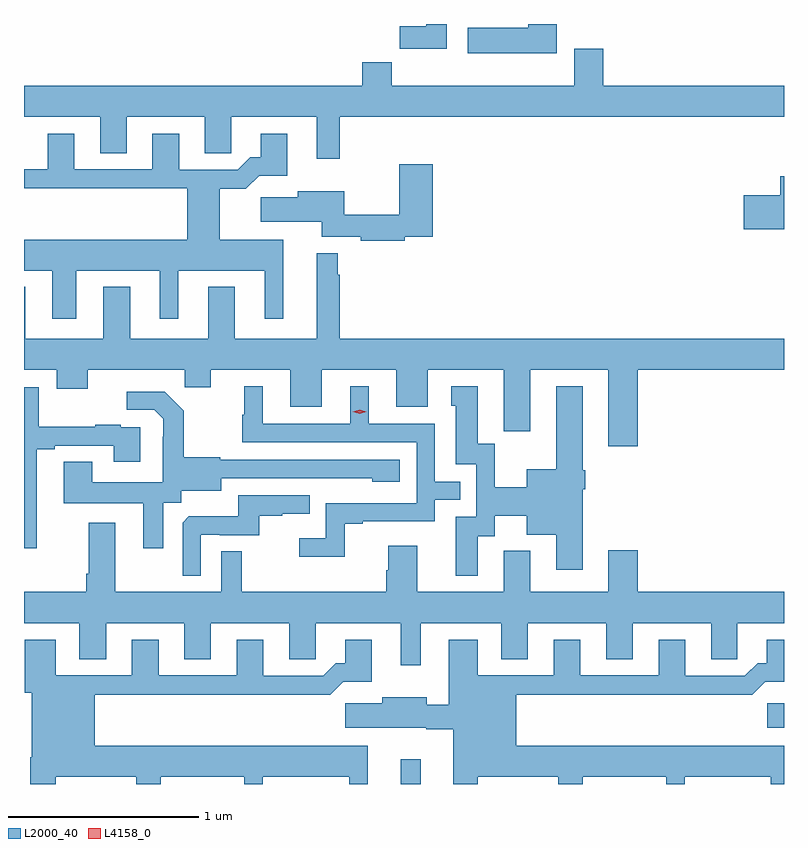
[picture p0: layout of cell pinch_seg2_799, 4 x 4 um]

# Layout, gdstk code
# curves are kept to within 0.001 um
import gdstk
lib = gdstk.Library(unit=1e-6, precision=1e-09)
def R(c, l, rs):  # rectangles x0, y0, x1, y1
    for r in rs: c.add(gdstk.rectangle(r[:2], r[2:], *l))
def P(c, l, *ps):  # polygons
    for p in ps: c.add(gdstk.Polygon(p, *l))
L2000_40 = (2000, 40)
L4158_0 = (4158, 0)

pinch_seg2_799 = lib.new_cell('pinch_seg2_799')
R(pinch_seg2_799, L2000_40, [(677.723,613.489,677.827,613.618), (679.65,613.784,679.739,613.913)])
P(pinch_seg2_799, L2000_40, [(678.544,617.489),(678.392,617.489),(678.392,617.47),(678.075,617.47),(678.075,617.336),(678.544,617.336)],
  [(677.965,617.489),(677.855,617.489),(677.855,617.476),(677.716,617.476),(677.716,617.358),(677.965,617.358)],
  [(677.401,617),(679.739,617),(679.739,617.164),(678.788,617.164),(678.788,617.359),(678.635,617.359),(678.635,617.164),(677.675,617.164),(677.675,617.288),(677.519,617.288),(677.519,617.164),(675.739,617.164),(675.739,617),(676.139,617),(676.139,616.81),(676.279,616.81),(676.279,617),(676.691,617),(676.691,616.81),(676.83,616.81),(676.83,617),(677.279,617),(677.279,616.779),(677.401,616.779)],
  [(676.015,616.19),(676.454,616.19),(676.454,615.939),(676.552,615.939),(676.552,616.19),(677.006,616.19),(677.006,615.939),(677.104,615.939),(677.104,616.354),(676.768,616.354),(676.768,616.622),(676.907,616.622),(676.976,616.691),(677.125,616.691),(677.125,616.912),(676.985,616.912),(676.985,616.789),(676.93,616.789),(676.863,616.722),(676.555,616.722),(676.555,616.912),(676.415,616.912),(676.415,616.725),(676.003,616.725),(676.003,616.912),(675.863,616.912),(675.863,616.725),(675.739,616.725),(675.739,616.624),(676.598,616.624),(676.598,616.354),(675.739,616.354),(675.739,616.19),(675.887,616.19),(675.887,615.939),(676.015,615.939)],
  [(677.744,616.368),(677.891,616.368),(677.891,616.75),(677.713,616.75),(677.713,616.484),(677.424,616.484),(677.424,616.609),(677.18,616.609),(677.18,616.577),(676.986,616.577),(676.986,616.448),(677.306,616.448),(677.306,616.368),(677.512,616.368),(677.512,616.348),(677.744,616.348)],
  [(679.739,616.687),(679.718,616.687),(679.718,616.587),(679.527,616.587),(679.527,616.409),(679.739,616.409)],
  [(678.968,615.668),(679.739,615.668),(679.739,615.832),(677.401,615.832),(677.401,616.169),(677.39,616.169),(677.39,616.282),(677.279,616.282),(677.279,615.832),(676.849,615.832),(676.849,616.105),(676.709,616.105),(676.709,615.832),(676.297,615.832),(676.297,616.105),(676.157,616.105),(676.157,615.832),(675.745,615.832),(675.745,616.105),(675.739,616.105),(675.739,615.668),(675.911,615.668),(675.911,615.569),(676.075,615.569),(676.075,615.668),(676.585,615.668),(676.585,615.578),(676.723,615.578),(676.723,615.668),(677.141,615.668),(677.141,615.474),(677.305,615.474),(677.305,615.668),(677.699,615.668),(677.699,615.474),(677.863,615.474),(677.863,615.668),(678.263,615.668),(678.263,615.457),(678.264,615.457),(678.264,615.345),(678.403,615.345),(678.403,615.668),(678.815,615.668),(678.815,615.267),(678.968,615.267)],
  [(678.127,614.794),(678.217,614.794),(678.217,614.9),(678.386,614.9),(678.386,614.801),(678.539,614.801),(678.539,614.616),(678.679,614.616),(678.679,615.041),(678.692,615.041),(678.692,615.141),(678.679,615.141),(678.679,615.583),(678.539,615.583),(678.539,615.145),(678.386,615.145),(678.386,615.052),(678.216,615.052),(678.216,615.279),(678.127,615.279),(678.127,615.583),(677.987,615.583),(677.987,615.48),(678.011,615.48),(678.011,615.171),(678.12,615.171),(678.12,614.895),(678.011,614.895),(678.011,614.586),(678.127,614.586)],
  [(677.427,614.859),(677.521,614.859),(677.521,614.871),(677.901,614.871),(677.901,614.985),(678.035,614.985),(678.035,615.081),(677.901,615.081),(677.901,615.384),(677.554,615.384),(677.554,615.583),(677.456,615.583),(677.456,615.384),(676.996,615.384),(676.996,615.583),(676.898,615.583),(676.898,615.432),(676.887,615.432),(676.887,615.288),(677.805,615.288),(677.805,614.967),(677.328,614.967),(677.328,614.782),(677.187,614.782),(677.187,614.684),(677.427,614.684)],
  [(675.805,615.252),(675.901,615.252),(675.901,615.27),(676.211,615.27),(676.211,615.186),(676.351,615.186),(676.351,615.366),(676.247,615.366),(676.247,615.379),(676.115,615.379),(676.115,615.368),(675.817,615.368),(675.817,615.576),(675.739,615.576),(675.739,614.73),(675.805,614.73)],
  [(676.471,614.968),(676.566,614.968),(676.566,615.032),(676.777,615.032),(676.777,615.099),(677.571,615.098),(677.571,615.08),(677.716,615.08),(677.716,615.195),(676.773,615.195),(676.773,615.208),(676.581,615.208),(676.581,615.453),(676.481,615.553),(676.281,615.553),(676.281,615.459),(676.425,615.459),(676.472,615.412),(676.472,615.317),(676.47,615.317),(676.47,615.076),(676.099,615.076),(676.099,615.185),(675.947,615.185),(675.947,614.966),(676.367,614.966),(676.367,614.73),(676.471,614.73)],
  [(676.668,614.802),(676.768,614.802),(676.768,614.799),(676.976,614.799),(676.976,614.901),(677.099,614.901),(677.099,614.912),(677.243,614.912),(677.243,615.009),(676.866,615.009),(676.866,614.897),(676.607,614.897),(676.575,614.865),(676.575,614.585),(676.668,614.585)],
  [(677.827,614.336),(678.251,614.336),(678.251,614.146),(678.391,614.146),(678.391,614.336),(678.803,614.336),(678.803,614.146),(678.943,614.146),(678.943,614.336),(679.355,614.336),(679.355,614.146),(679.494,614.146),(679.494,614.336),(679.739,614.336),(679.739,614.5),(678.968,614.5),(678.968,614.719),(678.815,614.719),(678.815,614.5),(678.403,614.5),(678.403,614.716),(678.263,614.716),(678.263,614.5),(677.809,614.5),(677.809,614.743),(677.657,614.743),(677.657,614.613),(677.645,614.613),(677.645,614.5),(676.885,614.5),(676.885,614.714),(676.776,614.714),(676.776,614.5),(676.219,614.5),(676.219,614.863),(676.079,614.863),(676.079,614.596),(676.067,614.596),(676.067,614.5),(675.739,614.5),(675.739,614.336),(676.031,614.336),(676.031,614.146),(676.171,614.146),(676.171,614.336),(676.583,614.336),(676.583,614.146),(676.723,614.146),(676.723,614.336),(677.135,614.336),(677.135,614.146),(677.274,614.146),(677.274,614.336),(677.723,614.336),(677.723,614.115),(677.827,614.115)],
  [(675.907,613.526),(676.331,613.526),(676.331,613.489),(676.459,613.489),(676.459,613.526),(676.898,613.526),(676.898,613.489),(676.996,613.489),(676.996,613.526),(677.45,613.526),(677.45,613.489),(677.548,613.489),(677.548,613.69),(676.111,613.69),(676.111,613.96),(677.095,613.96),(677.095,613.958),(677.351,613.958),(677.42,614.027),(677.569,614.027),(677.569,614.248),(677.429,614.248),(677.429,614.125),(677.38,614.125),(677.313,614.058),(676.999,614.058),(676.999,614.248),(676.859,614.248),(676.859,614.061),(676.447,614.061),(676.447,614.248),(676.307,614.248),(676.307,614.061),(675.907,614.061),(675.907,614.248),(675.743,614.248),(675.743,613.968),(675.779,613.968),(675.779,613.63),(675.772,613.63),(675.772,613.489),(675.907,613.489)],
  [(678.127,613.526),(678.551,613.526),(678.551,613.489),(678.679,613.489),(678.679,613.526),(679.118,613.526),(679.118,613.489),(679.216,613.489),(679.216,613.526),(679.67,613.526),(679.67,613.489),(679.739,613.489),(679.739,613.69),(678.331,613.69),(678.331,613.96),(679.315,613.96),(679.315,613.958),(679.571,613.958),(679.64,614.027),(679.739,614.027),(679.739,614.248),(679.649,614.248),(679.649,614.125),(679.6,614.125),(679.533,614.058),(679.219,614.058),(679.219,614.248),(679.079,614.248),(679.079,614.061),(678.667,614.061),(678.667,614.248),(678.527,614.248),(678.527,614.061),(678.127,614.061),(678.127,614.248),(677.975,614.248),(677.975,613.906),(677.86,613.906),(677.86,613.945),(677.624,613.945),(677.624,613.913),(677.43,613.913),(677.43,613.784),(677.856,613.784),(677.856,613.777),(677.999,613.777),(677.999,613.489),(678.127,613.489)])
P(pinch_seg2_799, L4158_0, [(677.505,615.438),(677.469,615.448),(677.469,615.448),(677.469,615.448),(677.505,615.458),(677.541,615.448),(677.541,615.448),(677.541,615.448)])

lib.write_gds('pinch_seg2_799.gds')
